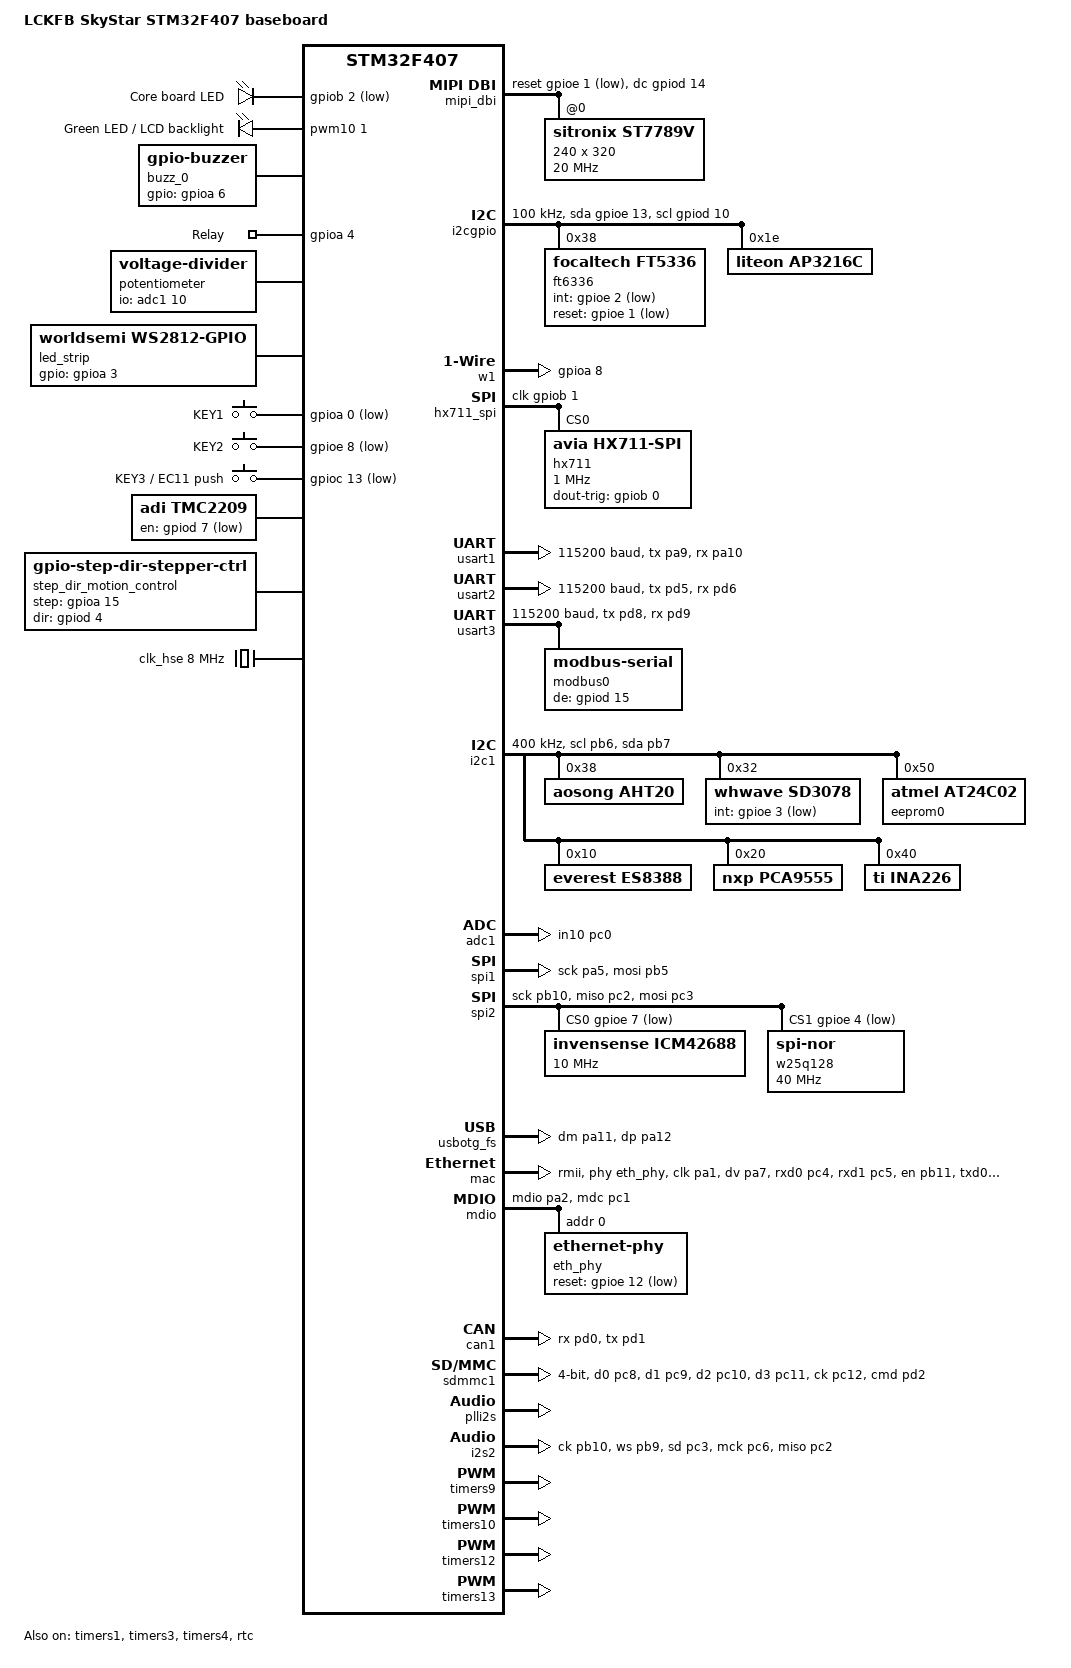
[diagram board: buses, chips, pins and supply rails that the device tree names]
/*
* Copyright (c) 2025 O431
*
* SPDX-License-Identifier: MIT
*
* Zephyr board description for the LCKFB SkyStar STM32F407 baseboard.
*/

/dts-v1/;

#include <st/f4/stm32f407Xe.dtsi>
#include <st/f4/stm32f407v(e-g)tx-pinctrl.dtsi>
#include <zephyr/dt-bindings/i2c/i2c.h>
#include <zephyr/dt-bindings/input/input-event-codes.h>
#include <zephyr/dt-bindings/led/led.h>
#include <zephyr/dt-bindings/display/panel.h>
#include <zephyr/dt-bindings/mipi_dbi/mipi_dbi.h>
#include <zephyr/dt-bindings/pwm/pwm.h>
#include <zephyr/dt-bindings/sensor/qdec_stm32.h>

/ {
	model = "LCKFB SkyStar STM32F407 baseboard";
	compatible = "skystar,stm32f407";

	chosen {
		zephyr,console = &usart1;
		zephyr,shell-uart = &usart1;
		zephyr,sram = &sram0;
		zephyr,flash = &flash0;
		zephyr,dtcm = &ccm0;
	};

	leds: leds {
		compatible = "gpio-leds";

		green_led_1: led_1 {
			gpios = <&gpiob 2 GPIO_ACTIVE_LOW>;
			label = "Core board LED";
		};
	};

	/*
	* PB8 is shared by the green LED and the LCD backlight.
	* It is driven as a PWM output; use the LED API or the PWM API.
	*/
	pwm_leds: pwm-leds {
		compatible = "pwm-leds";

		led_green: led_green {
			pwms = <&pwm10 1 PWM_MSEC(20) PWM_POLARITY_NORMAL>;
			label = "Green LED / LCD backlight";
		};
	};

	/*
	* PA6 is selected between the active buzzer and the passive
	* buzzer through SW7 bit 4. The active buzzer is enabled by
	* default; enable buzzer_p in an overlay for the passive one.
	*/
	buzz_0: buzz {
		compatible = "gpio-buzzer";
		status = "okay";
		gpios = <&gpioa 6 GPIO_ACTIVE_HIGH>;
	};

	buzzer_p: buzzer-pwm {
		compatible = "pwm-buzzer";
		status = "disabled";
		pwms = <&pwm13 1 PWM_HZ(2700) PWM_POLARITY_NORMAL>;
	};

	relays: relays {
		compatible = "gpio-leds";

		relay0: relay0 {
			gpios = <&gpioa 4 GPIO_ACTIVE_HIGH>;
			label = "Relay";
		};
	};

	potentiometer: potentiometer {
		compatible = "voltage-divider";
		status = "okay";
		io-channels = <&adc1 10>;
		output-ohms = <10000>;
		full-ohms = <10000>;
	};

	led_strip: ws2812 {
		compatible = "worldsemi,ws2812-gpio";
		status = "okay";
		gpios = <&gpioa 3 GPIO_ACTIVE_HIGH>;
		chain-length = <3>;
		color-mapping = <LED_COLOR_ID_GREEN
		LED_COLOR_ID_RED
		LED_COLOR_ID_BLUE>;
		reset-delay = <280>;
	};

	mipi_dbi: mipi-dbi {
		compatible = "zephyr,mipi-dbi-spi";
		spi-dev = <&spi1>;
		dc-gpios = <&gpiod 14 GPIO_ACTIVE_HIGH>;
		reset-gpios = <&gpioe 1 GPIO_ACTIVE_LOW>;
		#address-cells = <1>;
		#size-cells = <0>;

		st7789v: st7789v@0 {
			compatible = "sitronix,st7789v";
			reg = <0>;
			mipi-max-frequency = <20000000>;
			width = <240>;
			height = <320>;
			x-offset = <0>;
			y-offset = <0>;
			vcom = <0x19>;
			gctrl = <0x35>;
			vrhs = <0x12>;
			vdvs = <0x20>;
			mdac = <0x00>;
			gamma = <0x01>;
			pixel-format = <PANEL_PIXEL_FORMAT_RGB_565>;
			lcm = <0x2c>;
			porch-param = [0c 0c 00 33 33];
			cmd2en-param = [5a 69 02 01];
			pwctrl1-param = [a4 a1];
			pvgam-param = [d0 04 0d 11 13 2b 3f 54 4c 18 0d 0b 1f 23];
			nvgam-param = [d0 04 0c 11 13 2c 3f 44 51 2f 1f 1f 20 23];
			ram-param = [00 f0];
			rgb-param = [cd 08 14];
			mipi-mode = "MIPI_DBI_MODE_SPI_4WIRE";
		};
	};

	gpio_keys: gpio-keys {
		compatible = "gpio-keys";

		user_button_0: K0 {
			label = "KEY1";
			gpios = <&gpioa 0 GPIO_ACTIVE_LOW>;
			zephyr,code = <INPUT_KEY_0>;
		};

		user_button_1: K1 {
			label = "KEY2";
			gpios = <&gpioe 8 GPIO_ACTIVE_LOW>;
			zephyr,code = <INPUT_KEY_1>;
		};

		user_button_UP: K_UP {
			label = "KEY3 / EC11 push";
			gpios = <&gpioc 13 GPIO_ACTIVE_LOW>;
			zephyr,code = <INPUT_KEY_2>;
		};
	};

	aliases {
		led0 = &green_led_1;
		buzz = &buzz_0;
		sw0 = &user_button_0;
		sw1 = &user_button_1;
		sw2 = &user_button_UP;
		qdec0 = &qdec;
		qdec1 = &qdec1;
		qdec2 = &qdec2;
		sdhc0 = &sdmmc1;
		stepper-driver = &tmc2209;
		stepper-ctrl = &step_dir_motion_control;
	};

	/*
	* PD10/PE13 are used as a software I2C bus for the LCD touch
	* controller and for the external I2C2 header.
	*/
	i2cgpio: i2c-gpio {
		compatible = "gpio-i2c";
		status = "okay";
		scl-gpios = <&gpiod 10 (GPIO_OPEN_DRAIN | GPIO_PULL_UP)>;
		sda-gpios = <&gpioe 13 (GPIO_OPEN_DRAIN | GPIO_PULL_UP)>;
		#address-cells = <1>;
		#size-cells = <0>;
		clock-frequency = <100000>;

		ft6336: touch@38 {
			compatible = "focaltech,ft5336";
			reg = <0x38>;
			int-gpios = <&gpioe 2 GPIO_ACTIVE_LOW>;
			reset-gpios = <&gpioe 1 GPIO_ACTIVE_LOW>;
		};

		ap3216c: sensor@1e {
			compatible = "liteon,ap3216c";
			reg = <0x1e>;
		};
	};

	w1: w1 {
		compatible = "zephyr,w1-gpio";
		status = "okay";
		gpios = <&gpioa 8 (GPIO_ACTIVE_HIGH | GPIO_OPEN_DRAIN | GPIO_PULL_UP)>;
	};

	/*
	* TMC2209 and its step/dir motion controller.
	* STEP = PA15, DIR = PD4, EN = PD7.
	*/
	tmc2209: tmc2209 {
		compatible = "adi,tmc2209";
		status = "okay";
		en-gpios = <&gpiod 7 GPIO_ACTIVE_LOW>;
		micro-step-res = <8>;
	};

	step_dir_motion_control: motion-controller {
		compatible = "zephyr,gpio-step-dir-stepper-ctrl";
		status = "okay";
		step-gpios = <&gpioa 15 GPIO_ACTIVE_HIGH>;
		dir-gpios = <&gpiod 4 GPIO_ACTIVE_HIGH>;
		stepper-driver = <&tmc2209>;
	};

	/*
	* HX711 is connected as a two-wire bit-banged device:
	* DOUT = PB0, PD_SCK = PB1.
	*/
	hx711_spi: spi {
		compatible = "zephyr,spi-bitbang";
		status = "okay";
		clk-gpios = <&gpiob 1 GPIO_ACTIVE_HIGH>;
		sdi-gpios = <&gpiob 0 GPIO_ACTIVE_HIGH>;
		#address-cells = <1>;
		#size-cells = <0>;

		hx711: hx711@0 {
			compatible = "avia,hx711-spi";
			reg = <0>;
			status = "okay";
			spi-max-frequency = <1000000>;
			gain = <128>;
			avdd = <3300>;
			dout-trig-gpios = <&gpiob 0 GPIO_ACTIVE_HIGH>;
		};
	};
};

&clk_hse {
	clock-frequency = <DT_FREQ_M(8)>;
	status = "okay";
};

&clk_lse {
	status = "okay";
};

&pll {
	div-m = <8>;
	mul-n = <336>;
	div-p = <2>;
	div-q = <7>;
	clocks = <&clk_hse>;
	status = "okay";
};

&rcc {
	clocks = <&pll>;
	clock-frequency = <DT_FREQ_M(168)>;
	ahb-prescaler = <1>;
	apb1-prescaler = <4>;
	apb2-prescaler = <2>;
};

&usart1 {
	pinctrl-0 = <&usart1_tx_pa9 &usart1_rx_pa10>;
	pinctrl-names = "default";
	current-speed = <115200>;
	status = "okay";
};

&usart2 {
	pinctrl-0 = <&usart2_tx_pd5 &usart2_rx_pd6>;
	pinctrl-names = "default";
	current-speed = <115200>;
	status = "okay";
};

&usart3 {
	pinctrl-0 = <&usart3_tx_pd8 &usart3_rx_pd9>;
	pinctrl-names = "default";
	current-speed = <115200>;
	status = "okay";

	modbus0: modbus0 {
		compatible = "zephyr,modbus-serial";
		de-gpios = <&gpiod 15 GPIO_ACTIVE_HIGH>;
	};
};

&timers1 {
	status = "okay";

	qdec2: qdec {
		status = "okay";
		pinctrl-0 = <&tim1_ch1_pe9 &tim1_ch2_pe11>;
		pinctrl-names = "default";
		st,counts-per-revolution = <1>;
	};
};

&timers3 {
	status = "okay";

	qdec1: qdec {
		status = "okay";
		pinctrl-0 = <&tim3_ch1_pb4 &tim3_ch2_pc7>;
		pinctrl-names = "default";
		st,counts-per-revolution = <1>;
	};
};

&timers4 {
	status = "okay";

	qdec: qdec {
		status = "okay";
		pinctrl-0 = <&tim4_ch1_pd12 &tim4_ch2_pd13>;
		pinctrl-names = "default";
		st,counts-per-revolution = <20>;
	};
};

&rtc {
	clocks = <&rcc STM32_CLOCK(APB1, 28)>,
	<&rcc STM32_SRC_LSE RTC_SEL(1)>;
	status = "okay";
};

&i2c1 {
	pinctrl-0 = <&i2c1_scl_pb6 &i2c1_sda_pb7>;
	pinctrl-names = "default";
	clock-frequency = <I2C_BITRATE_FAST>;
	status = "okay";

	aht20: aht20@38 {
		compatible = "aosong,aht20";
		reg = <0x38>;
	};

	sd3078: rtc@32 {
		compatible = "whwave,sd3078";
		reg = <0x32>;
		int-gpios = <&gpioe 3 GPIO_ACTIVE_LOW>;
	};

	eeprom0: eeprom@50 {
		compatible = "atmel,at24c02", "atmel,at24";
		reg = <0x50>;
		size = <256>;
		pagesize = <8>;
		address-width = <8>;
		timeout = <5>;
	};

	es8388: audio-codec@10 {
		compatible = "everest,es8388";
		reg = <0x10>;
	};

	pca9555: gpio@20 {
		compatible = "nxp,pca9555";
		reg = <0x20>;
		gpio-controller;
		#gpio-cells = <2>;
		ngpios = <16>;
	};

	ina226: ina226@40 {
		compatible = "ti,ina226";
		reg = <0x40>;
		current-lsb-microamps = <300>;
		rshunt-micro-ohms = <10000>;
	};
};

&adc1 {
	pinctrl-0 = <&adc1_in10_pc0>;
	pinctrl-names = "default";
	st,adc-prescaler = <4>;
	status = "okay";
};

&spi1 {
	pinctrl-0 = <&spi1_sck_pa5 &spi1_mosi_pb5>;
	pinctrl-names = "default";
	cs-gpios = <&gpioe 14 GPIO_ACTIVE_LOW>;
	status = "okay";
};

&spi2 {
	pinctrl-0 = <&spi2_sck_pb10 &spi2_miso_pc2 &spi2_mosi_pc3>;
	pinctrl-names = "default";
	cs-gpios = <&gpioe 7 GPIO_ACTIVE_LOW>,
	<&gpioe 4 GPIO_ACTIVE_LOW>,
	<&gpiod 11 GPIO_ACTIVE_LOW>,
	<&gpioe 0 GPIO_ACTIVE_LOW>,
	<&gpioe 15 GPIO_ACTIVE_LOW>;
	status = "okay";

	icm42688: icm42688@0 {
		compatible = "invensense,icm42688", "invensense,icm4268x";
		reg = <0>;
		spi-max-frequency = <10000000>;
		accel-pwr-mode = <3>;
		gyro-pwr-mode = <3>;
		accel-fs = <3>;
		gyro-fs = <7>;
		accel-odr = <8>;
		gyro-odr = <8>;
	};

	w25q128: w25q128@1 {
		compatible = "jedec,spi-nor";
		reg = <1>;
		spi-max-frequency = <40000000>;
		size = <DT_SIZE_M(128)>;
		jedec-id = [ef 40 18];
		has-dpd;
		t-enter-dpd = <3000>;
		t-exit-dpd = <3000>;
	};
};

zephyr_udc0: &usbotg_fs {
	pinctrl-0 = <&usb_otg_fs_dm_pa11 &usb_otg_fs_dp_pa12>;
	pinctrl-names = "default";
	status = "okay";
};

&mac {
	status = "okay";
	pinctrl-0 = <&eth_ref_clk_pa1
	&eth_crs_dv_pa7
	&eth_rxd0_pc4
	&eth_rxd1_pc5
	&eth_tx_en_pb11
	&eth_txd0_pb12
	&eth_txd1_pb13>;
	pinctrl-names = "default";
	phy-connection-type = "rmii";
	phy-handle = <&eth_phy>;
};

&mdio {
	status = "okay";
	pinctrl-0 = <&eth_mdio_pa2 &eth_mdc_pc1>;
	pinctrl-names = "default";

	eth_phy: ethernet-phy@0 {
		compatible = "ethernet-phy";
		reg = <0x00>;
		reset-gpios = <&gpioe 12 GPIO_ACTIVE_LOW>;
	};
};

&can1 {
	pinctrl-0 = <&can1_rx_pd0 &can1_tx_pd1>;
	pinctrl-names = "default";
	status = "okay";
};

&sdmmc1 {
	status = "okay";
	pinctrl-0 = <&sdio_d0_pc8 &sdio_d1_pc9
	&sdio_d2_pc10 &sdio_d3_pc11
	&sdio_ck_pc12 &sdio_cmd_pd2>;
	pinctrl-names = "default";
	cd-gpios = <&gpiod 3 (GPIO_ACTIVE_LOW | GPIO_PULL_UP)>;
	bus-width = <4>;
	disk-name = "SD";
};

&plli2s {
	div-m = <8>;
	mul-n = <271>;
	div-r = <2>;
	clocks = <&clk_hse>;
	status = "okay";
};

&i2s2 {
	mck-enabled;
	pinctrl-0 = <&i2s2_ck_pb10 &i2s2_ws_pb9
	&i2s2_sd_pc3 &i2s2_mck_pc6
	&spi2_miso_pc2>;
	pinctrl-names = "default";
	clocks = <&rcc STM32_CLOCK(APB1, 14)>,
	<&rcc STM32_SRC_PLLI2S_R I2S_SEL(0)>;
	status = "okay";
};

&timers9 {
	status = "okay";

	pwm9: pwm {
		status = "okay";
		pinctrl-0 = <&tim9_ch1_pe5 &tim9_ch2_pe6>;
		pinctrl-names = "default";
	};
};

&timers10 {
	st,prescaler = <0>;
	status = "okay";

	pwm10: pwm {
		status = "okay";
		pinctrl-0 = <&tim10_ch1_pb8>;
		pinctrl-names = "default";
	};
};

&timers12 {
	status = "okay";

	pwm12: pwm {
		status = "okay";
		pinctrl-0 = <&tim12_ch1_pb14 &tim12_ch2_pb15>;
		pinctrl-names = "default";
	};
};

&timers13 {
	status = "okay";

	pwm13: pwm {
		status = "disabled";
		pinctrl-0 = <&tim13_ch1_pa6>;
		pinctrl-names = "default";
	};
};

&dma1 {
	status = "okay";
};

&dma2 {
	status = "okay";
};
